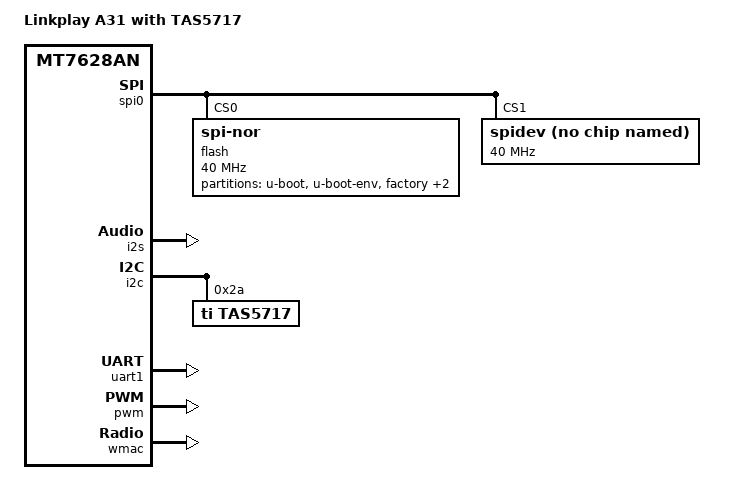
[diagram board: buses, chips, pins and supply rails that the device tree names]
/dts-v1/;

#include "mt7628an.dtsi"

#include <dt-bindings/gpio/gpio.h>
#include <dt-bindings/input/input.h>

/ {
	/*
	 * Linkplay A31 + TAS5717 Audio Board DTS
	 * Modified for I2S Master Mode & TAS5717 Support
	 * Hardware: A-TAS5717-07 V1.0 Carrier
	 */

	compatible = "linkplay,a31", "mediatek,mt7628an-soc";
	model = "Linkplay A31 with TAS5717";

	chosen {
		bootargs = "console=ttyS1,57600";
	};

	aliases {
		serial0 = &uart1;
		serial1 = &uartlite;
	};

	/* 
	 * 音频子系统配置 - 重构部分
	 * 使用 simple-audio-card 驱动来桥接 MT7628 I2S 与 TAS5717
	 */
	sound {
		compatible = "simple-audio-card";
		simple-audio-card,name = "Linkplay-TAS5717";
		simple-audio-card,format = "i2s";
		
		/* 
		 * 主从模式设定：
		 * 指向CPU节点(&dailink0_master)，表示CPU产生BCLK和LRCK。
		 * TAS5717作为Slave接收时钟。
		 */
		simple-audio-card,bitclock-master = <&dailink0_master>;
		simple-audio-card,frame-master = <&dailink0_master>;
		
		/* 
		 * MCLK设定：
		 * TAS5717需要系统时钟。配置为采样率的256倍。
		 * MT7628将通过REFCLK引脚输出此频率(如12.288MHz)。
		 */
		simple-audio-card,mclk-fs = <256>;

		/* 定义音频控件组件 */
		simple-audio-card,widgets =
			"Speaker", "External Speaker";
			
		/* 音频路由：将放大器输出连接到虚拟扬声器组件 */
		simple-audio-card,routing =
			"External Speaker", "OUT_A",
			"External Speaker", "OUT_B",
			"External Speaker", "OUT_C",
			"External Speaker", "OUT_D";

		/* CPU侧配置 */
		dailink0_master: simple-audio-card,cpu {
			sound-dai = <&i2s>;
		};

		/* Codec侧配置：引用下方定义的tas5717节点 */
		simple-audio-card,codec {
			sound-dai = <&tas5717>;
		};
	};
};

&state_default {
	/* PCB GPIOs 1-5 映射到 MCU 引脚 14-18 => Linux 494-498 */
	pwm0 {
		groups = "pwm0";
		function = "gpio";
	};

	spis {
		groups = "spis";
		function = "gpio";
	};
};

&spi0 {
	status = "okay";

	pinctrl-names = "default";
	pinctrl-0 = <&spi_pins>, <&spi_cs1_pins>;

	flash@0 {
		compatible = "jedec,spi-nor";
		reg = <0>;
		spi-max-frequency = <40000000>;

		partitions {
			compatible = "fixed-partitions";
			#address-cells = <1>;
			#size-cells = <1>;

			partition@0 {
				label = "u-boot";
				reg = <0x0 0x30000>;
				read-only;
			};

			partition@30000 {
				label = "u-boot-env";
				reg = <0x30000 0x10000>;
			};

			factory: partition@40000 {
				label = "factory";
				reg = <0x40000 0x10000>;
				read-only;
			};

			partition@50000 {
				label = "bkKernel";
				reg = <0x50000 0x200000>;
				read-only;
			};

			/*
			 * 固件分区布局调整：合并原有的小分区以适应OpenWrt
			 */
			partition@250000 {
				compatible = "denx,uimage";
				label = "firmware";
				reg = <0x250000 0xdb0000>;
			};
		};
	};

	spidev@1 {
		#address-cells = <1>;
		#size-cells = <1>;
		compatible = "linux,spidev";
		reg = <1>;
		spi-max-frequency = <40000000>;
	};
};

/* 
 * I2S控制器配置 
 * 必须确保 pinctrl 包含 refclk_pins 以输出MCLK
 */
&i2s {
	#sound-dai-cells = <0>;
	status = "okay";
	pinctrl-names = "default";
	pinctrl-0 = <&i2s_pins>, <&refclk_pins>;
};

/* 
 * I2C控制器配置 - 挂载TAS5717
 */
&i2c {
	status = "okay";
	
	tas5717: audio-codec@2a {
		compatible = "ti,tas5717";
		reg = <0x2a>; /* 默认地址0x2a (A_SEL接GND) */
		#sound-dai-cells = <0>;

		/* 
		 * 硬件复位引脚配置 (根据A-TAS5717-07实际连线启用)
		 * 如果硬件已做上拉处理，可保持注释状态。
		 * 常见Linkplay设计可能使用GPIO 14/15/16等。
		 */
		/* reset-gpios = <&gpio 15 GPIO_ACTIVE_LOW>; */
		/* pdn-gpios = <&gpio 14 GPIO_ACTIVE_LOW>; */
	};
};

&gdma {
	status = "okay";
	/* 注意：确保DMA控制器已启用，否则音频播放将卡死或无声 */
};

&uart1 {
	status = "okay";
};

&pwm {
	status = "okay";
};

&ethernet {
	nvmem-cells = <&macaddr_factory_eth_2e>;
	nvmem-cell-names = "mac-address";
};

&wmac {
	status = "okay";
	mediatek,mtd-eeprom = <&factory 0x0>;
};

&factory {
	compatible = "nvmem-cells";
	#address-cells = <1>;
	#size-cells = <1>;

	macaddr_factory_wifi_4: macaddr@4 {
		reg = <0x4 0x6>;
	};
	macaddr_factory_wifi_28: macaddr@28 {
		reg = <0x28 0x6>;
	};
	macaddr_factory_eth_2e: macaddr@2e {
		reg = <0x2e 0x6>;
	};
};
